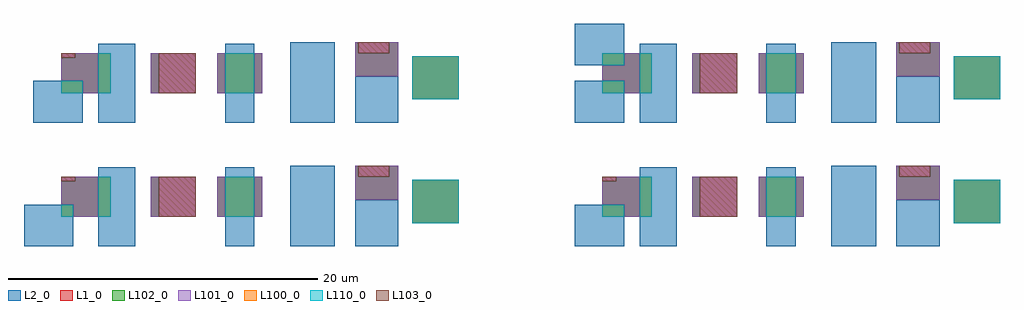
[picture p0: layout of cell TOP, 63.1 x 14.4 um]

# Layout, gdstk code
import gdstk
lib = gdstk.Library(unit=1e-6, precision=1e-09)
def R(c, l, rs):  # rectangles x0, y0, x1, y1
    for r in rs: c.add(gdstk.rectangle(r[:2], r[2:], *l))
def P(c, l, *ps):  # polygons
    for p in ps: c.add(gdstk.Polygon(p, *l))
L1_0 = (1, 0)
L2_0 = (2, 0)
L100_0 = (100, 0)
L101_0 = (101, 0)
L102_0 = (102, 0)
L103_0 = (103, 0)
L110_0 = (110, 0)

child1 = lib.new_cell('CHILD1')
R(child1, L1_0, [(22.7,0,25.7,2.8), (0,0.4,3.2,3), (5.8,0.4,8.7,3), (10.1,0.4,13,3), (19,1.5,21.8,3.7)])
R(child1, L100_0, [(22.7,0,25.7,2.8), (2.4,0.4,3.2,3), (10.6,0.4,12.5,3)])
R(child1, L101_0, [(5.8,0.4,8.7,3), (10.1,0.4,10.6,3), (12.5,0.4,13,3), (19,1.5,21.8,3.7)])
R(child1, L102_0, [(22.7,0,25.7,2.8), (5.8,0.4,6.3,3), (10.1,0.4,13,3)])
P(child1, L102_0, [(19,1.5),(19,3.7),(19.2,3.7),(19.2,3),(21.2,3),(21.2,3.7),(21.8,3.7),(21.8,1.5)])
R(child1, L103_0, [(6.3,0.4,8.7,3), (19.2,3,21.2,3.7)])
R(child1, L110_0, [(22.7,0,25.7,2.8), (2.4,0.4,3.2,3), (10.6,0.4,12.5,3)])

cover = lib.new_cell('COVER')
R(cover, L2_0, [(0,0,3.2,2.7), (4.2,0,6.6,5.1), (12.4,0,14.3,5.1), (16.6,0,19.5,5.2), (20.8,0,23.6,3), (24.5,1.5,27.5,4.3)])

subcell = lib.new_cell('SUBCELL')
R(subcell, L100_0, [(1.8,1.9,3.2,2.7), (1.8,9.9,3.2,10.7), (1.8,11.7,3.2,12.5)])
P(subcell, L101_0, [(3.2,1.9),(3.2,2.7),(1.8,2.7),(1.8,4.5),(4.2,4.5),(4.2,1.9)],
  [(3.2,9.9),(3.2,10.7),(1.8,10.7),(1.8,11.7),(3.2,11.7),(3.2,12.5),(4.2,12.5),(4.2,9.9)])
R(subcell, L102_0, [(1.8,9.9,5,12.5)])
P(subcell, L102_0, [(1.8,1.9),(1.8,4.2),(2.7,4.2),(2.7,4.5),(5,4.5),(5,1.9)])
R(subcell, L103_0, [(1.8,4.2,2.7,4.5)])
R(subcell, L110_0, [(1.8,1.9,3.2,2.7), (1.8,9.9,3.2,10.7), (1.8,11.7,3.2,12.5)])
subcell.add(gdstk.Reference(child1, (1.8,1.5)))
subcell.add(gdstk.Reference(child1, (1.8,9.5)))
subcell.add(gdstk.Reference(cover, (0,0)))
subcell.add(gdstk.Reference(cover, (0,8)))

top = lib.new_cell('TOP')
R(top, L2_0, [(-0.6,0,2.6,2.7), (4.2,0,6.6,5.1), (12.4,0,14.3,5.1), (16.6,0,19.5,5.2), (20.8,0,23.6,3), (24.5,1.5,27.5,4.3), (0,8,3.2,10.7), (4.2,8,6.6,13.1), (12.4,8,14.3,13.1), (16.6,8,19.5,13.2), (20.8,8,23.6,11), (24.5,9.5,27.5,12.3), (35,11.7,38.2,14.4)])
R(top, L100_0, [(1.8,1.9,2.6,2.7), (1.8,9.9,3.2,10.7)])
P(top, L101_0, [(2.6,1.9),(2.6,2.7),(1.8,2.7),(1.8,4.5),(4.2,4.5),(4.2,1.9)],
  [(3.2,9.9),(3.2,10.7),(1.8,10.7),(1.8,12.5),(4.2,12.5),(4.2,9.9)])
P(top, L102_0, [(1.8,1.9),(1.8,4.2),(2.7,4.2),(2.7,4.5),(5,4.5),(5,1.9)],
  [(1.8,9.9),(1.8,12.2),(2.7,12.2),(2.7,12.5),(5,12.5),(5,9.9)])
R(top, L103_0, [(1.8,4.2,2.7,4.5), (1.8,12.2,2.7,12.5)])
R(top, L110_0, [(1.8,1.9,2.6,2.7), (1.8,9.9,3.2,10.7)])
top.add(gdstk.Reference(child1, (1.8,1.5)))
top.add(gdstk.Reference(child1, (1.8,9.5)))
top.add(gdstk.Reference(subcell, (35,0)))

lib.write_gds('TOP.gds')
